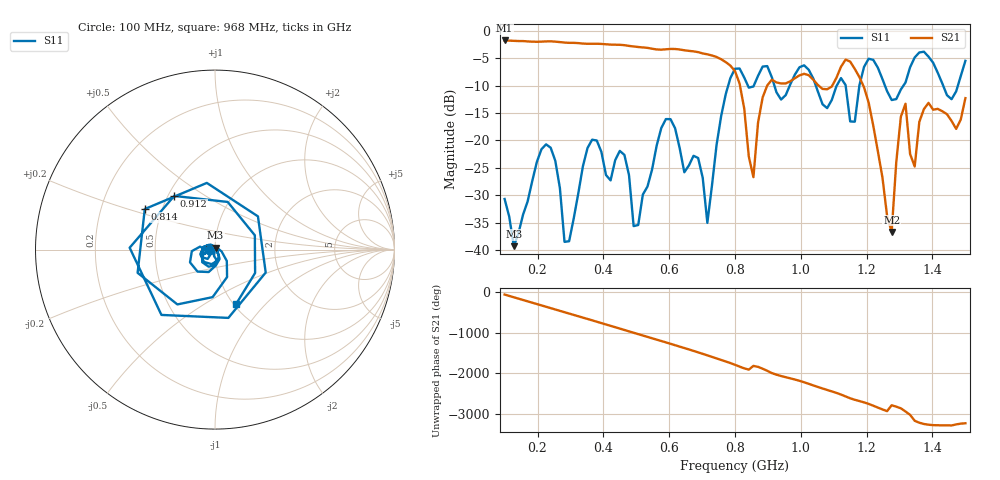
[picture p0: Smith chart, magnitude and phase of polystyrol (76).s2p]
! NanoVNA-App
! Date: 2025-09-26 09:42:28
! Start: 100MHz Stop: 1,5GHz Points: 101
! S-Parameter data: F S11 S21 S12 S22
# Hz S RI R 50
!  Frequency  S11_Real  S11_Imag  S21_Real  S21_Imag  S12_Real  S12_Imag  S22_Real  S22_Imag
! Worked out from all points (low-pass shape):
!   101 points, 100 MHz to 1.5 GHz, reference 50 ohm
!   highest |S21| = -1.79 dB at 100 MHz (marker M1); lowest = -36.7 dB at 1.276 GHz (marker M2)
!   |S21| within 3 dB of the highest: start of sweep to 743.4 MHz
!   lowest |S11| = -39.2 dB at 128 MHz (marker M3), VSWR 1.02, Z = 50.3 + j1.06 ohm
!   |S11| at or under -10 dB: start of sweep to 779.4 MHz; 1.045 GHz to 1.109 GHz (63.85 MHz wide, 5.93 % of centre); 1.256 GHz to 1.312 GHz (56.38 MHz wide, 4.39 % of centre) (the widest 3 of 7)
!   S12 and S22 are empty: the file has one direction only
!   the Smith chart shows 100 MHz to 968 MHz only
!   S11 on the Smith chart (normalised r, x): 100 MHz: 0.94, -0.01; 814 MHz: 0.40, +0.23; 912 MHz: 0.54, +0.37; 968 MHz: 1.03, -0.70
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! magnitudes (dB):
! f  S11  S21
! 100 MHz  -30.7  -1.8
! 128 MHz  -39.2  -1.9
! 212 MHz  -21.6  -2.0
! 282 MHz  -38.5  -2.2
! 338 MHz  -24.7  -2.4
! 464 MHz  -22.6  -2.6
! 506 MHz  -35.4  -3.0
! 576 MHz  -17.7  -3.5
! 688 MHz  -23.2  -3.9
! 716 MHz  -35.0  -4.3
! 800 MHz  -6.9  -7.4
! 814 MHz  -6.9  -9.6
! 856 MHz  -10.2  -26.7
! 912 MHz  -8.5  -8.9
! 968 MHz  -9.8  -9.2
! 1.038 GHz  -8.7  -8.9
! 1.178 GHz  -9.9  -8.5
! 1.276 GHz  -12.6  -36.7
! 1.318 GHz  -9.5  -13.3
! 1.346 GHz  -4.9  -24.7
! 1.374 GHz  -3.8  -14.3
! 1.5 GHz  -5.5  -12.3
